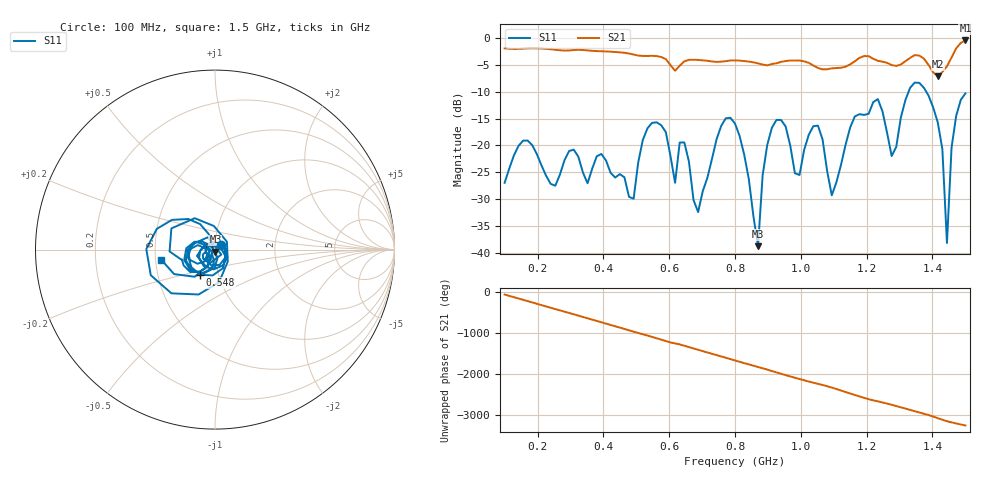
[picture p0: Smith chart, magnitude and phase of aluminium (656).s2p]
! NanoVNA-App
! Date: 2025-09-25 15:00:23
! Start: 100MHz Stop: 1,5GHz Points: 101
! S-Parameter data: F S11 S21 S12 S22
# Hz S RI R 50
!  Frequency  S11_Real  S11_Imag  S21_Real  S21_Imag  S12_Real  S12_Imag  S22_Real  S22_Imag
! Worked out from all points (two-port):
!   101 points, 100 MHz to 1.5 GHz, reference 50 ohm
!   highest |S21| = -0.44 dB at 1.5 GHz (marker M1); lowest = -7.1 dB at 1.416 GHz (marker M2)
!   |S21| within 3 dB of the highest: start of sweep to 569.5 MHz; 1.459 GHz to end of sweep (the widest 2 of 4)
!   lowest |S11| = -38.8 dB at 870 MHz (marker M3), VSWR 1.02, Z = 50.2 - j1.14 ohm
!   |S11| at or under -10 dB: start of sweep to 1.327 GHz; 1.381 GHz to end of sweep
!   S12 and S22 are empty: the file has one direction only
!   S11 on the Smith chart (normalised r, x): 100 MHz: 1.07, +0.06; 548 MHz: 0.82, -0.24; 1.5 GHz: 0.54, -0.07
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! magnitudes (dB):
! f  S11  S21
! 100 MHz  -27.0  -1.9
! 156 MHz  -19.1  -2.0
! 338 MHz  -25.0  -2.2
! 492 MHz  -29.9  -3.1
! 548 MHz  -15.8  -3.3
! 576 MHz  -16.2  -3.5
! 618 MHz  -27.0  -6.1
! 646 MHz  -19.4  -4.3
! 688 MHz  -32.4  -4.1
! 800 MHz  -15.9  -4.1
! 870 MHz  -38.8  -4.7
! 912 MHz  -16.7  -4.8
! 996 MHz  -25.5  -4.2
! 1.038 GHz  -16.4  -5.1
! 1.094 GHz  -29.3  -5.6
! 1.22 GHz  -11.9  -3.8
! 1.276 GHz  -22.0  -5.0
! 1.346 GHz  -8.3  -3.2
! 1.416 GHz  -15.7  -7.1
! 1.444 GHz  -38.2  -5.3
! 1.458 GHz  -20.4  -3.6
! 1.5 GHz  -10.3  -0.4
